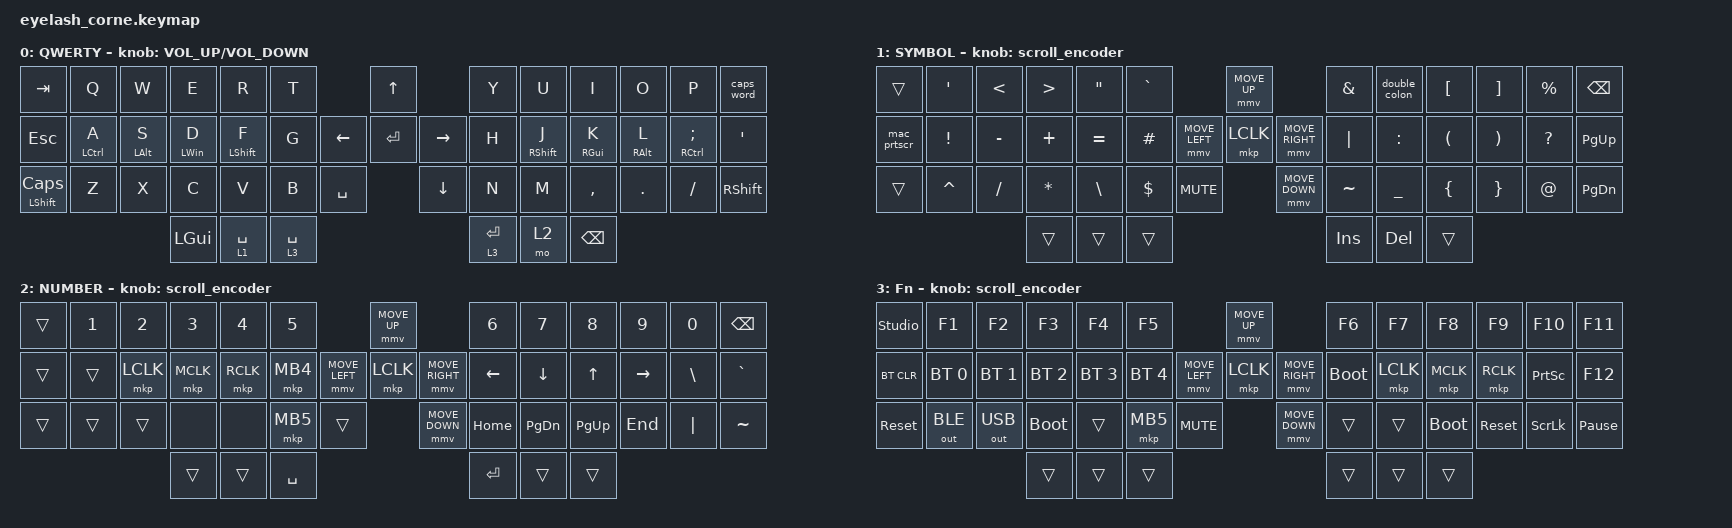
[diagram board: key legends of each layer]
#include <input/processors.dtsi>
#include <dt-bindings/zmk/mouse.h>
#include <behaviors.dtsi>
#include <dt-bindings/zmk/bt.h>
#include <dt-bindings/zmk/keys.h>
#include <dt-bindings/zmk/outputs.h>
#include <dt-bindings/zmk/pointing.h>
#include <dt-bindings/zmk/pointing.h>
#include <dt-bindings/zmk/pointing.h>

/*

   &mmv_input_listener {
       input-processors = <&zip_xy_scaler 2 1>;
   };

   &msc_input_listener {
       input-processors = <&zip_xy_scaler 2 1>;
   };

 */

#define ZMK_MOUSE_DEFAULT_MOVE_VAL 1200  // 600
#define ZMK_MOUSE_DEFAULT_SCRL_VAL 20    // 10

/ {
    behaviors {
        td0: td0 {
            compatible = "zmk,behavior-tap-dance";
            display-name = "Shift/Caps Lock Tap Dance";
            #binding-cells = <0>;
            bindings = <&kp LEFT_SHIFT>, <&kp CAPS>;
        };

        hml: homerow_mods_left {
            compatible = "zmk,behavior-hold-tap";
            label = "HOMEROW_MODS_LEFT_HAND";
            bindings = <&kp>, <&kp>;

            #binding-cells = <2>;
            tapping-term-ms = <300>;
            hold-trigger-key-positions = <7 8 9 11 10 12 27 40 22 23 24 25 26 27 36 37 38 39 40 41 46 47 36 37 38 45 46 47>;
        };

        hmr: homerow_mods_right {
            compatible = "zmk,behavior-hold-tap";
            label = "HOMEROW_MODS_RIGHT_HAND";
            bindings = <&kp>, <&kp>;

            #binding-cells = <2>;
            tapping-term-ms = <300>;
            hold-trigger-key-positions = <0 1 2 3 4 5 13 14 15 16 17 18 28 29 30 31 32 33 42 43 44>;
        };

        qlp: quick_layer_tap {
            compatible = "zmk,behavior-hold-tap";
            label = "QUICK_LAYER_TAP";
            bindings = <&mo>, <&kp>;

            #binding-cells = <2>;
            tapping-term-ms = <100>;
            flavor = "tap-preferred";
        };
    };

    scroll_encoder: scroll_encoder {
        compatible = "zmk,behavior-sensor-rotate";
        #sensor-binding-cells = <0>;
        bindings = <&msc SCRL_DOWN>, <&msc SCRL_UP>;

        tap-ms = <30>;
    };

    macros {
        double_colon: double_colon {
            compatible = "zmk,behavior-macro";
            #binding-cells = <0>;
            bindings = <&kp COLON &kp COLON>;
            label = "DOUBLE_COLON";
        };

        mac_prtscr: mac_prtscr {
            compatible = "zmk,behavior-macro";
            #binding-cells = <0>;
            bindings = <&kp LG(LC(LS(N4)))>;
            label = "MAC_PRTSCR";
        };
    };

    keymap {
        compatible = "zmk,keymap";

        default_layer {
            display-name = "QWERTY";
            bindings = <
&kp TAB          &kp Q         &kp W            &kp E            &kp R              &kp T                                &kp UP                &kp Y        &kp U               &kp I             &kp O             &kp P            &caps_word
&kp ESC          &hml LCTRL A  &hml LEFT_ALT S  &hml LEFT_WIN D  &hml LEFT_SHIFT F  &kp G                      &kp LEFT  &kp ENTER  &kp RIGHT  &kp H        &hmr RIGHT_SHIFT J  &hmr RIGHT_GUI K  &hmr RIGHT_ALT L  &hmr RCTRL SEMI  &kp SQT
&mt LSHIFT CAPS  &kp Z         &kp X            &kp C            &kp V              &kp B         &kp SPACE              &kp DOWN              &kp N        &kp M               &kp COMMA         &kp DOT           &kp FSLH         &kp RSHIFT
                                                &kp LGUI         &qlp 1 SPACE       &qlp 3 SPACE                                               &lt 3 ENTER  &mo 2               &kp BACKSPACE
            >;

            sensor-bindings = <&inc_dec_kp C_VOLUME_UP C_VOLUME_DOWN>;
        };

        lower_layer {
            display-name = "SYMBOL";
            bindings = <
&trans       &kp SQT    &kp LT     &kp GT    &kp DQT    &kp GRAVE                                 &mmv MOVE_UP                     &kp AMPS   &double_colon   &kp LBKT        &kp RBKT         &kp PRCNT     &kp BSPC
&mac_prtscr  &kp EXCL   &kp MINUS  &kp PLUS  &kp EQUAL  &kp HASH                  &mmv MOVE_LEFT  &mkp LCLK       &mmv MOVE_RIGHT  &kp PIPE   &kp COLON       &kp LPAR        &kp RPAR         &kp QUESTION  &kp PG_UP
&trans       &kp CARET  &kp SLASH  &kp STAR  &kp BSLH   &kp DOLLAR  &kp C_MUTE                    &mmv MOVE_DOWN                   &kp TILDE  &kp UNDERSCORE  &kp LEFT_BRACE  &kp RIGHT_BRACE  &kp AT        &kp PG_DN
                                   &trans    &trans     &trans                                                                     &kp INS    &kp DEL         &trans
            >;

            sensor-bindings = <&scroll_encoder>;
        };

        raise_layer {
            display-name = "NUMBER";
            bindings = <
&trans  &kp N1  &kp N2     &kp N3     &kp N4     &kp N5                               &mmv MOVE_UP                     &kp N6    &kp N7         &kp N8       &kp N9     &kp N0    &kp BSPC
&trans  &trans  &mkp LCLK  &mkp MCLK  &mkp RCLK  &mkp MB4             &mmv MOVE_LEFT  &mkp LCLK       &mmv MOVE_RIGHT  &kp LEFT  &kp DOWN       &kp UP       &kp RIGHT  &kp BSLH  &kp GRAVE
&trans  &trans  &trans     &none      &none      &mkp MB5   &trans                    &mmv MOVE_DOWN                   &kp HOME  &kp PAGE_DOWN  &kp PAGE_UP  &kp END    &kp PIPE  &kp TILDE
                           &trans     &trans     &kp SPACE                                                             &kp RET   &trans         &trans
            >;

            sensor-bindings = <&scroll_encoder>;
        };

        layer_3 {
            display-name = "Fn";
            bindings = <
&studio_unlock  &kp F1        &kp F2        &kp F3        &kp F4        &kp F5                                      &mmv MOVE_UP                     &kp F6       &kp F7     &kp F8       &kp F9      &kp F10          &kp F11
&bt BT_CLR      &bt BT_SEL 0  &bt BT_SEL 1  &bt BT_SEL 2  &bt BT_SEL 3  &bt BT_SEL 4                &mmv MOVE_LEFT  &mkp LCLK       &mmv MOVE_RIGHT  &bootloader  &mkp LCLK  &mkp MCLK    &mkp RCLK   &kp PRINTSCREEN  &kp F12
&sys_reset      &out OUT_BLE  &out OUT_USB  &bootloader   &trans        &mkp MB5      &kp C_MUTE                    &mmv MOVE_DOWN                   &trans       &trans     &bootloader  &sys_reset  &kp SCROLLLOCK   &kp PAUSE_BREAK
                                            &trans        &trans        &trans                                                                       &trans       &trans     &trans
            >;

            sensor-bindings = <&scroll_encoder>;
        };
    };
};
